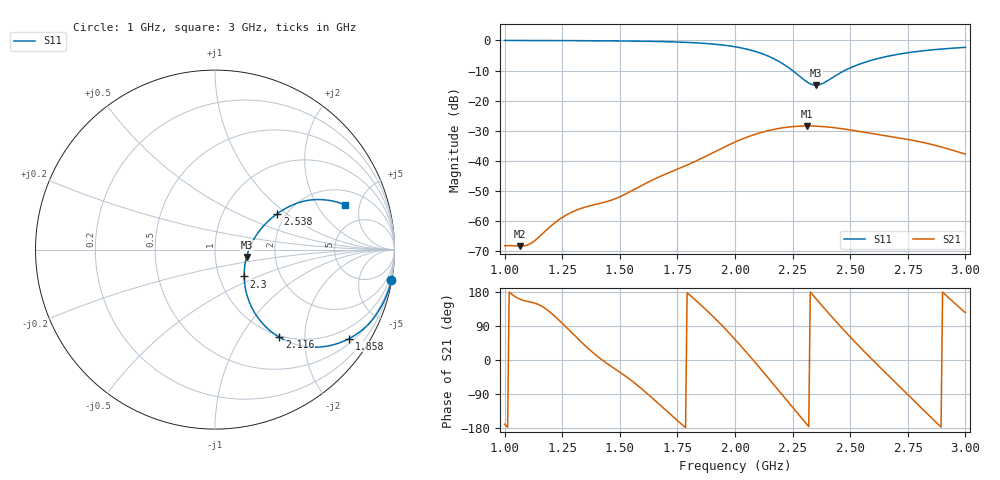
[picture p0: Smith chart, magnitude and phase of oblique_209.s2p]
! TOUCHSTONE file generated by CST MICROWAVE STUDIO
! Date and time: Tue Mar 18 00:03:05 2025
! Project name: oblique.cst
! Parameters = {Tilt=40; Fracture=1; B=12.5; D=160; F=25; Feed=2.85625; L=100; M=10; R=0.384908; S=2; Theta=180; length=57.125; wave=114.25}
! Header version: 2024
! Port assignment regex: !\s*Touchstone port\s*([0-9]+)\s*=\s*(CST MWS port|CST DES external port|CST DES block port)\s*(.+)\s* \(\"(.*)\"\)(\s*mode\s*([0-9]+))?.*
! Touchstone port assignment:
! Touchstone port 1 = CST MWS port 1 ("")
! Touchstone port 2 = CST MWS port 2 ("")
# GHz S DB R 50
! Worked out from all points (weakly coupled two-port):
!   304 points, 1 GHz to 3 GHz, reference 50 ohm
!   highest |S21| = -28.40 dB at 2.314 GHz (marker M1); lowest = -68.3 dB at 1.066 GHz (marker M2)
!   lowest |S11| = -14.9 dB at 2.353 GHz (marker M3), VSWR 1.44, Z = 71.1 - j5.95 ohm
!   |S11| at or under -10 dB: 2.25 GHz to 2.476 GHz (226.3 MHz wide, 9.58 % of centre)
!   S12 and S22 are empty: the file has one direction only
!   S11 on the Smith chart (normalised r, x): 1 GHz: 0, -12; 1.858 GHz: 0.63, -3.21; 2.116 GHz: 0.97, -1.50; 2.3 GHz: 1.31, -0.41; 2.538 GHz: 1.80, +0.86; 3 GHz: 3.01, +3.63
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1  -0.02 -9.8  -68.15 -169.4  -200.00 0.0  -200.00 0.0
1.06601  -0.03 -10.7  -68.28 160.6  -200.00 0.0  -200.00 0.0
1.11881  -0.04 -11.5  -67.12 152.0  -200.00 0.0  -200.00 0.0
1.23762  -0.06 -13.4  -59.39 104.2  -200.00 0.0  -200.00 0.0
1.28383  -0.08 -14.2  -57.27 76.5  -200.00 0.0  -200.00 0.0
1.33663  -0.10 -15.2  -55.62 45.0  -200.00 0.0  -200.00 0.0
1.48185  -0.17 -18.5  -52.48 -24.7  -200.00 0.0  -200.00 0.0
1.66667  -0.36 -24.2  -45.43 -114.4  -200.00 0.0  -200.00 0.0
1.85809  -0.94 -33.5  -39.01 141.8  -200.00 0.0  -200.00 0.0
2.0033  -2.15 -44.2  -33.62 52.2  -200.00 0.0  -200.00 0.0
2.11551  -4.35 -53.7  -30.51 -26.6  -200.00 0.0  -200.00 0.0
2.20792  -7.77 -57.9  -28.99 -94.1  -200.00 0.0  -200.00 0.0
2.30033  -13.12 -42.6  -28.41 -161.5  -200.00 0.0  -200.00 0.0
2.31353  -13.84 -36.6  -28.40 -171.1  -200.00 0.0  -200.00 0.0
2.33993  -14.77 -21.4  -28.43 170.0  -200.00 0.0  -200.00 0.0
2.35314  -14.87 -13.0  -28.46 160.6  -200.00 0.0  -200.00 0.0
2.38614  -14.06 5.7  -28.62 137.4  -200.00 0.0  -200.00 0.0
2.43894  -11.58 22.2  -29.04 101.2  -200.00 0.0  -200.00 0.0
2.53795  -7.95 30.0  -30.19 36.7  -200.00 0.0  -200.00 0.0
2.66997  -5.15 28.9  -31.85 -43.6  -200.00 0.0  -200.00 0.0
2.83498  -3.30 23.7  -34.18 -142.2  -200.00 0.0  -200.00 0.0
3  -2.31 18.9  -37.74 124.6  -200.00 0.0  -200.00 0.0
